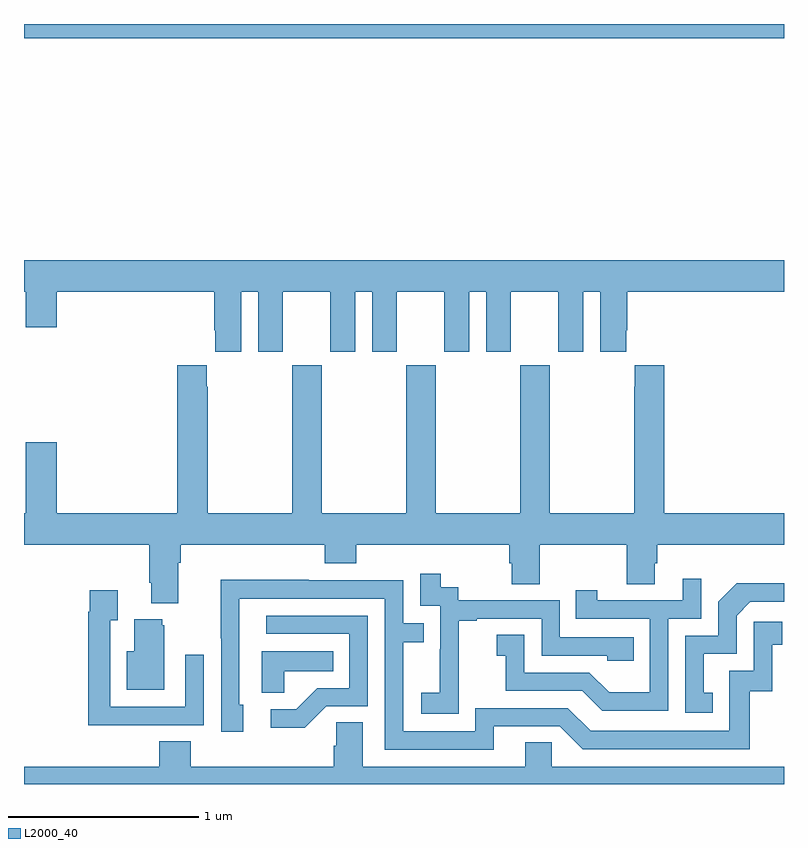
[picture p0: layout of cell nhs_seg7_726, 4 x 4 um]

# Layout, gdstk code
import gdstk
lib = gdstk.Library(unit=1e-6, precision=1e-09)
def R(c, l, rs):  # rectangles x0, y0, x1, y1
    for r in rs: c.add(gdstk.rectangle(r[:2], r[2:], *l))
def P(c, l, *ps):  # polygons
    for p in ps: c.add(gdstk.Polygon(p, *l))
L2000_40 = (2000, 40)

nhs_seg7_726 = lib.new_cell('nhs_seg7_726')
R(nhs_seg7_726, L2000_40, [(165,1025.924,169,1026)])
P(nhs_seg7_726, L2000_40, [(165,1024.592),(165.008,1024.592),(165.008,1024.404),(165.172,1024.404),(165.172,1024.592),(166.001,1024.592),(166.001,1024.387),(166.007,1024.387),(166.007,1024.275),(166.144,1024.275),(166.144,1024.592),(166.232,1024.592),(166.232,1024.275),(166.363,1024.275),(166.363,1024.592),(166.613,1024.592),(166.613,1024.275),(166.744,1024.275),(166.744,1024.592),(166.832,1024.592),(166.832,1024.275),(166.963,1024.275),(166.963,1024.592),(167.213,1024.592),(167.213,1024.275),(167.344,1024.275),(167.344,1024.592),(167.432,1024.592),(167.432,1024.275),(167.563,1024.275),(167.563,1024.592),(167.813,1024.592),(167.813,1024.275),(167.944,1024.275),(167.944,1024.592),(168.032,1024.592),(168.032,1024.275),(168.169,1024.275),(168.169,1024.387),(168.176,1024.387),(168.176,1024.592),(169,1024.592),(169,1024.756),(165,1024.756)],
  [(166.583,1023.161),(166.748,1023.161),(166.748,1023.26),(167.555,1023.26),(167.555,1023.162),(167.567,1023.162),(167.567,1023.052),(167.715,1023.052),(167.715,1023.26),(168.172,1023.26),(168.172,1023.052),(168.319,1023.052),(168.319,1023.162),(168.332,1023.162),(168.332,1023.26),(169,1023.26),(169,1023.424),(168.371,1023.424),(168.371,1024.204),(168.215,1024.204),(168.215,1024.091),(168.211,1024.091),(168.211,1023.424),(167.766,1023.424),(167.766,1024.204),(167.611,1024.204),(167.611,1023.424),(167.166,1023.424),(167.166,1024.204),(167.011,1024.204),(167.011,1023.424),(166.566,1023.424),(166.566,1024.204),(166.411,1024.204),(166.411,1023.424),(165.966,1023.424),(165.966,1024.091),(165.961,1024.091),(165.961,1024.204),(165.806,1024.204),(165.806,1023.424),(165.172,1023.424),(165.172,1023.799),(165.008,1023.799),(165.008,1023.424),(165,1023.424),(165,1023.26),(165.659,1023.26),(165.659,1023.058),(165.671,1023.058),(165.671,1022.951),(165.811,1022.951),(165.811,1023.164),(165.824,1023.164),(165.824,1023.26),(166.583,1023.26)],
  [(167.289,1022.575),(167.288,1022.575),(167.288,1022.859),(167.383,1022.859),(167.383,1022.871),(167.724,1022.871),(167.724,1022.676),(168.069,1022.676),(168.069,1022.649),(168.209,1022.649),(168.209,1022.772),(167.82,1022.772),(167.82,1022.967),(167.286,1022.967),(167.286,1023.036),(167.194,1023.036),(167.194,1023.106),(167.085,1023.106),(167.085,1022.937),(167.19,1022.937),(167.19,1022.708),(167.189,1022.708),(167.189,1022.479),(167.091,1022.479),(167.091,1022.369),(167.289,1022.369)],
  [(168.39,1022.871),(168.564,1022.871),(168.564,1023.079),(168.467,1023.079),(168.467,1022.967),(168.016,1022.967),(168.016,1023.019),(167.905,1023.019),(167.905,1022.871),(168.294,1022.871),(168.294,1022.482),(168.08,1022.482),(167.976,1022.586),(167.634,1022.586),(167.634,1022.785),(167.487,1022.785),(167.487,1022.675),(167.536,1022.675),(167.536,1022.49),(167.939,1022.49),(168.044,1022.385),(168.39,1022.385)],
  [(167.473,1022.304),(167.82,1022.304),(167.94,1022.184),(168.82,1022.184),(168.82,1022.487),(168.938,1022.487),(168.938,1022.733),(168.991,1022.733),(168.991,1022.854),(168.84,1022.854),(168.84,1022.595),(168.711,1022.595),(168.711,1022.28),(167.982,1022.28),(167.862,1022.4),(167.376,1022.4),(167.376,1022.277),(166.995,1022.277),(166.995,1022.746),(167.105,1022.746),(167.105,1022.847),(166.995,1022.847),(166.995,1023.072),(166.499,1023.072),(166.499,1023.074),(166.036,1023.074),(166.036,1022.767),(166.038,1022.767),(166.038,1022.274),(166.153,1022.274),(166.153,1022.418),(166.134,1022.418),(166.134,1022.976),(166.899,1022.976),(166.899,1022.181),(167.473,1022.181)],
  [(168.626,1022.481),(168.577,1022.481),(168.577,1022.685),(168.75,1022.685),(168.75,1022.886),(168.822,1022.958),(169,1022.958),(169,1023.056),(168.752,1023.056),(168.654,1022.958),(168.654,1022.781),(168.48,1022.781),(168.48,1022.376),(168.626,1022.376)],
  [(165.629,1022.31),(165.945,1022.31),(165.945,1022.68),(165.849,1022.68),(165.849,1022.406),(165.453,1022.406),(165.453,1022.863),(165.493,1022.863),(165.493,1023.019),(165.345,1023.019),(165.345,1022.906),(165.337,1022.906),(165.337,1022.309),(165.629,1022.309)],
  [(166.59,1022.409),(166.809,1022.409),(166.809,1022.886),(166.275,1022.886),(166.275,1022.79),(166.713,1022.79),(166.713,1022.505),(166.544,1022.505),(166.433,1022.394),(166.299,1022.394),(166.299,1022.297),(166.477,1022.297)],
  [(165.739,1022.835),(165.728,1022.835),(165.728,1022.866),(165.581,1022.866),(165.581,1022.698),(165.542,1022.698),(165.542,1022.495),(165.739,1022.495)],
  [(166.371,1022.594),(166.628,1022.594),(166.628,1022.698),(166.25,1022.698),(166.25,1022.479),(166.371,1022.479)],
  [(169,1022.092),(167.778,1022.092),(167.778,1022.219),(167.639,1022.219),(167.639,1022.092),(166.783,1022.092),(166.783,1022.324),(166.644,1022.324),(166.644,1022.201),(166.631,1022.201),(166.631,1022.092),(165.878,1022.092),(165.878,1022.225),(165.713,1022.225),(165.713,1022.092),(165,1022.092),(165,1022),(169,1022)])

lib.write_gds('nhs_seg7_726.gds')
